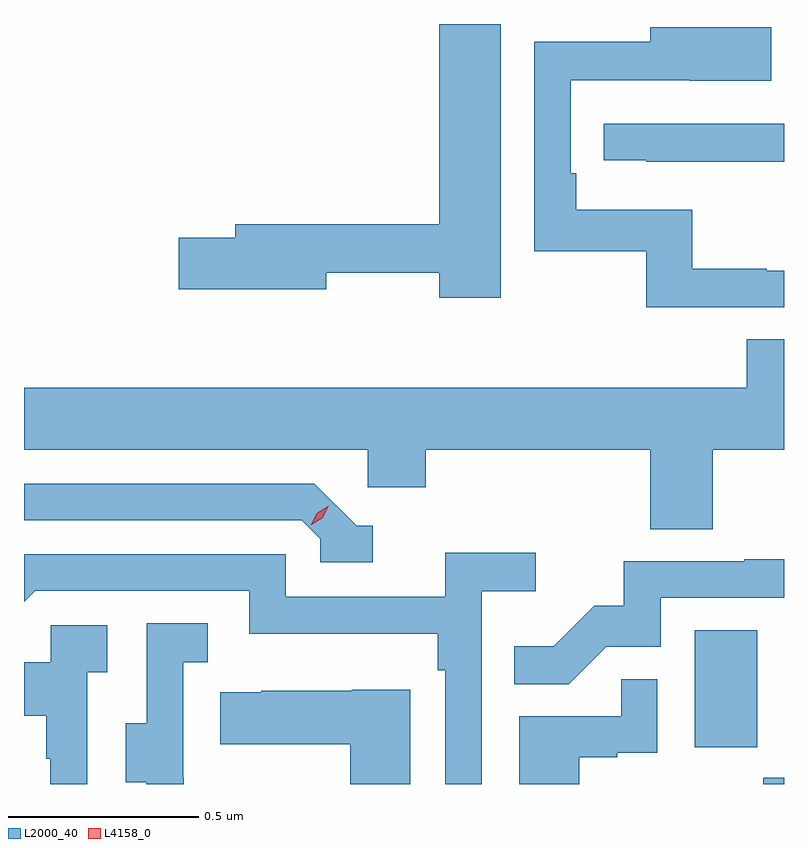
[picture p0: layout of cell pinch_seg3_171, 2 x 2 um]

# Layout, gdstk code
import gdstk
lib = gdstk.Library(unit=1e-6, precision=1e-09)
def R(c, l, rs):  # rectangles x0, y0, x1, y1
    for r in rs: c.add(gdstk.rectangle(r[:2], r[2:], *l))
def P(c, l, *ps):  # polygons
    for p in ps: c.add(gdstk.Polygon(p, *l))
L2000_40 = (2000, 40)
L4158_0 = (4158, 0)

pinch_seg3_171 = lib.new_cell('pinch_seg3_171')
R(pinch_seg3_171, L2000_40, [(1103.271,710.693,1103.325,710.709), (1103.09,710.79,1103.254,711.097)])
P(pinch_seg3_171, L2000_40, [(1102.579,712.693),(1102.418,712.693),(1102.418,712.166),(1101.881,712.166),(1101.881,712.13),(1101.732,712.13),(1101.732,711.995),(1102.12,711.995),(1102.12,712.038),(1102.418,712.038),(1102.418,711.972),(1102.579,711.972)],
  [(1103.325,712.044),(1103.279,712.044),(1103.279,712.049),(1103.083,712.049),(1103.083,712.204),(1102.778,712.204),(1102.778,712.3),(1102.764,712.3),(1102.764,712.545),(1103.077,712.545),(1103.077,712.544),(1103.291,712.544),(1103.291,712.684),(1102.973,712.684),(1102.973,712.646),(1102.668,712.646),(1102.668,712.095),(1102.962,712.095),(1102.962,711.948),(1103.325,711.948)],
  [(1103.325,712.431),(1102.851,712.431),(1102.851,712.335),(1102.963,712.335),(1102.963,712.33),(1103.325,712.33)],
  [(1103.138,711.572),(1103.325,711.572),(1103.325,711.863),(1103.227,711.863),(1103.227,711.736),(1101.325,711.736),(1101.325,711.572),(1102.23,711.572),(1102.23,711.474),(1102.382,711.474),(1102.382,711.572),(1102.973,711.572),(1102.973,711.364),(1103.138,711.364)],
  [(1102.243,711.372),(1102.2,711.372),(1102.089,711.483),(1101.325,711.483),(1101.325,711.387),(1102.056,711.387),(1102.104,711.339),(1102.104,711.276),(1102.243,711.276)],
  [(1102.53,711.2),(1102.672,711.2),(1102.672,711.302),(1102.433,711.302),(1102.433,711.186),(1102.014,711.186),(1102.014,711.297),(1101.325,711.297),(1101.325,711.172),(1101.354,711.201),(1101.918,711.201),(1101.918,711.089),(1102.414,711.089),(1102.414,710.993),(1102.434,710.993),(1102.434,710.693),(1102.53,710.693)],
  [(1102.857,711.054),(1103.001,711.054),(1103.001,711.183),(1103.325,711.183),(1103.325,711.284),(1103.221,711.284),(1103.221,711.279),(1102.903,711.279),(1102.903,711.162),(1102.826,711.162),(1102.719,711.055),(1102.615,711.055),(1102.615,710.956),(1102.759,710.956)],
  [(1101.746,710.709),(1101.744,710.709),(1101.744,711.013),(1101.808,711.013),(1101.808,711.116),(1101.648,711.116),(1101.648,710.853),(1101.593,710.853),(1101.593,710.698),(1101.647,710.698),(1101.647,710.693),(1101.746,710.693)],
  [(1101.492,710.987),(1101.544,710.987),(1101.544,711.111),(1101.396,711.111),(1101.396,711.013),(1101.325,711.013),(1101.325,710.873),(1101.384,710.873),(1101.384,710.759),(1101.394,710.759),(1101.394,710.693),(1101.492,710.693)],
  [(1102.786,710.763),(1102.886,710.763),(1102.886,710.775),(1102.992,710.775),(1102.992,710.969),(1102.897,710.969),(1102.897,710.871),(1102.628,710.871),(1102.628,710.693),(1102.786,710.693)],
  [(1102.342,710.941),(1102.188,710.941),(1102.188,710.938),(1101.949,710.938),(1101.949,710.935),(1101.841,710.935),(1101.841,710.798),(1102.184,710.798),(1102.184,710.693),(1102.342,710.693)])
P(pinch_seg3_171, L4158_0, [(1102.079,711.374),(1102.079,711.374),(1102.096,711.406),(1102.127,711.425),(1102.127,711.425),(1102.127,711.425),(1102.11,711.393),(1102.079,711.374)])

lib.write_gds('pinch_seg3_171.gds')
